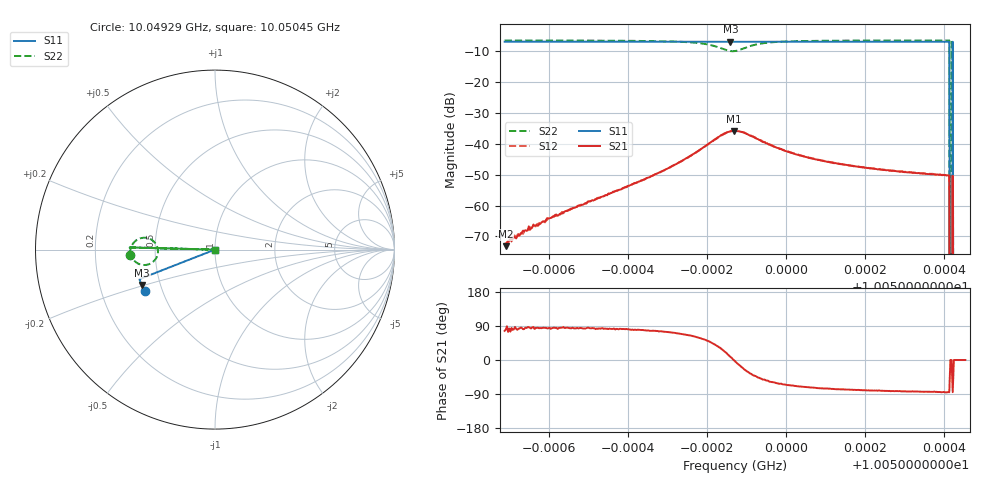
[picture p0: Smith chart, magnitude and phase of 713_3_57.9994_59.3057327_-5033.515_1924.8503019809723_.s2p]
#  HZ  S  RI  R  50.00
! Rohde & Schwarz Vector Network Analyzer
! Rohde-Schwarz,ZNB20-2Port,1311601062101988,3.16
! Created: UTC 3/21/2024, 1:22:16 AM
! freq[Hz]  re:S11  im:S11  re:S21  im:S21  re:S12  im:S12  re:S22  im:S22
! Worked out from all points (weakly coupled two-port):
!   401 points, 10.04929 GHz to 10.05045 GHz, reference 50 ohm
!   highest |S21| = -35.76 dB at 10.04987 GHz (marker M1); lowest = -73.1 dB at 10.04929 GHz (marker M2)
!   lowest |S11| = -6.9 dB at 10.04986 GHz (marker M3), VSWR 2.65, Z = 19.7 - j9.79 ohm
!   |S11| at or under -10 dB: 10.05041 GHz to 10.05042 GHz (8.642 kHz wide, 8.6e-05 % of centre); 10.05042 GHz to end of sweep
!   |S22| runs from - to -6.5 dB; largest |S21 - S12| = 0.0014
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1.0049288e10  -0.3909 -0.2315  5.38e-05 0.00023  1.11e-05 0.000238  -0.474 -0.0291
1.0049291e10  -0.391 -0.2313  3.82e-05 0.000217  4.79e-05 0.000241  -0.4738 -0.029
1.0049355e10  -0.3931 -0.2274  4.93e-05 0.000423  2.53e-05 0.000439  -0.4736 -0.0227
1.0049483e10  -0.397 -0.2199  0.000112 0.00102  4.69e-05 0.00103  -0.4724 -0.0088
1.0049678e10  -0.4028 -0.2081  0.000868 0.00332  0.000629 0.00336  -0.462 0.0251
1.0049786e10  -0.4054 -0.2014  0.00464 0.00697  0.00419 0.00722  -0.4203 0.0617
1.0049859e10  -0.4061 -0.1973  0.0159 0.0023  0.0154 0.00358  -0.3197 0.00756
1.0049868e10  -0.4063 -0.1971  0.0163 -9.6e-05  0.0162 0.00123  -0.3179 -0.0158
1.0049871e10  -0.4064 -0.197  0.0162 -0.000894  0.0162 0.000318  -0.319 -0.0236
1.0049903e10  -0.4076 -0.1958  0.0123 -0.00738  0.0128 -0.0065  -0.3649 -0.0803
1.0049946e10  -0.4092 -0.1935  0.00652 -0.00836  0.00702 -0.008  -0.4248 -0.0796
1.0050066e10  -0.4129 -0.1861  0.0017 -0.00553  0.00206 -0.00547  -0.4661 -0.0376
1.0050261e10  -0.4179 -0.1739  0.00054 -0.00364  0.000765 -0.00366  -0.474 -0.00472
1.0050406e10  -0.4212 -0.1649  0.000253 -0.00307  0.000454 -0.00308  -0.4749 0.0109
1.0050409e10  -0.4213 -0.1649  0.000282 -0.0031  0.000426 -0.0031  -0.4749 0.0111
1.0050412e10  -0.4214 -0.1646  0.00027 -0.00307  0.00043 -0.00306  -0.4749 0.0113
1.0050415e10  0 0  0 0  0 0  0 0
1.0050421e10  -0.4215 -0.1641  0.00027 -0.00304  0.000455 -0.00307  -0.4749 0.0122
1.0050424e10  0 0  0 0  0 0  0 0
1.0050427e10  0 0  0 0  0 0  0 0
1.005043e10  0 0  0 0  0 0  0 0
1.0050453e10  0 0  0 0  0 0  0 0
